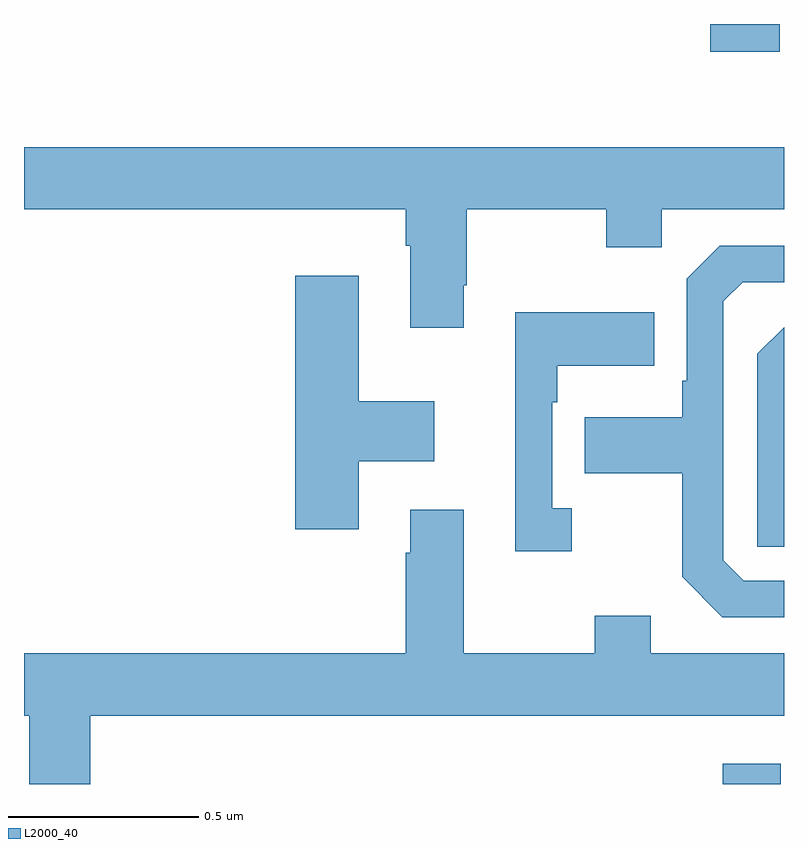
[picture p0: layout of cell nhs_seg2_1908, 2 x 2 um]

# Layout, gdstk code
import gdstk
lib = gdstk.Library(unit=1e-6, precision=1e-09)
def R(c, l, rs):  # rectangles x0, y0, x1, y1
    for r in rs: c.add(gdstk.rectangle(r[:2], r[2:], *l))
def P(c, l, *ps):  # polygons
    for p in ps: c.add(gdstk.Polygon(p, *l))
L2000_40 = (2000, 40)

nhs_seg2_1908 = lib.new_cell('nhs_seg2_1908')
R(nhs_seg2_1908, L2000_40, [(135.839,636.8,135.991,636.853), (135.806,638.727,135.989,638.8)])
P(nhs_seg2_1908, L2000_40, [(135.157,638.113),(135.165,638.113),(135.165,638.312),(135.532,638.312),(135.532,638.213),(135.678,638.213),(135.678,638.312),(136,638.312),(136,638.476),(134,638.476),(134,638.312),(135.005,638.312),(135.005,638.216),(135.017,638.216),(135.017,638.001),(135.157,638.001)],
  [(136,637.335),(135.894,637.335),(135.84,637.389),(135.84,638.07),(135.891,638.121),(136,638.121),(136,638.217),(135.831,638.217),(135.744,638.13),(135.744,637.861),(135.732,637.861),(135.732,637.765),(135.475,637.765),(135.475,637.618),(135.732,637.618),(135.732,637.345),(135.837,637.239),(136,637.239)],
  [(134.881,637.649),(135.079,637.649),(135.079,637.807),(134.881,637.807),(134.881,638.137),(134.714,638.137),(134.714,637.47),(134.881,637.47)],
  [(135.442,637.526),(135.39,637.526),(135.39,637.805),(135.403,637.805),(135.403,637.901),(135.659,637.901),(135.659,638.041),(135.293,638.041),(135.293,637.413),(135.442,637.413)],
  [(136,638.002),(135.93,637.932),(135.93,637.425),(136,637.425)],
  [(134.174,636.98),(136,636.98),(136,637.144),(135.649,637.144),(135.649,637.243),(135.502,637.243),(135.502,637.144),(135.157,637.144),(135.157,637.522),(135.017,637.522),(135.017,637.409),(135.005,637.409),(135.005,637.144),(134,637.144),(134,636.98),(134.014,636.98),(134.014,636.8),(134.174,636.8)])

lib.write_gds('nhs_seg2_1908.gds')
